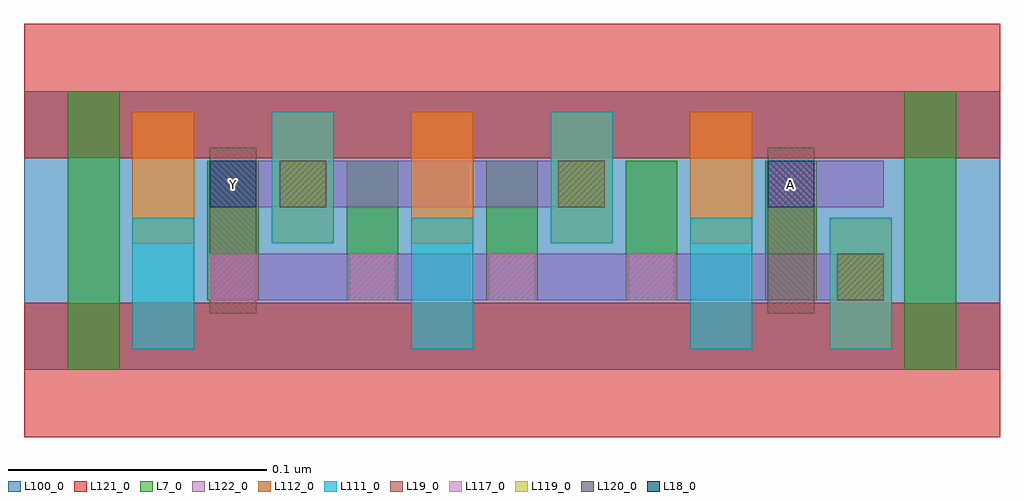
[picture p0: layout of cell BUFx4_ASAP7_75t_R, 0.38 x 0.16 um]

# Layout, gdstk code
import gdstk
lib = gdstk.Library(unit=1e-6, precision=2.5e-10)
def R(c, l, rs):  # rectangles x0, y0, x1, y1
    for r in rs: c.add(gdstk.rectangle(r[:2], r[2:], *l))
def A(c, l, x, y, w, h, nx, ny, dx, dy):  # array of equal rectangles
    R(c, l, [(x+i*dx, y+j*dy, x+i*dx+w, y+j*dy+h) for i in range(nx) for j in range(ny)])
L7_0 = (7, 0)
L18_0 = (18, 0)
L19_0 = (19, 0)
L100_0 = (100, 0)
L111_0 = (111, 0)
L112_0 = (112, 0)
L117_0 = (117, 0)
L119_0 = (119, 0)
L120_0 = (120, 0)
L121_0 = (121, 0)
L122_0 = (122, 0)

bufx4_asap7_75t_r = lib.new_cell('BUFx4_ASAP7_75t_R')
A(bufx4_asap7_75t_r, L7_0, 0.071, 0.027, 0.02, 0.054, 5, 1, 0.054, 0)
R(bufx4_asap7_75t_r, L7_0, [(0.017,0,0.037,0.108), (0.341,0,0.361,0.108)])
R(bufx4_asap7_75t_r, L18_0, [(0.072,0.063,0.09,0.081), (0.288,0.063,0.306,0.081)])
R(bufx4_asap7_75t_r, L19_0, [(0.072,0.022,0.09,0.086), (0.288,0.022,0.306,0.086)])
R(bufx4_asap7_75t_r, L100_0, [(0,0,0.378,0.108)])
A(bufx4_asap7_75t_r, L111_0, 0.042, 0.008, 0.024, 0.051, 3, 1, 0.108, 0)
R(bufx4_asap7_75t_r, L111_0, [(0.312,0.008,0.336,0.059), (0.096,0.049,0.12,0.1), (0.204,0.049,0.228,0.1)])
A(bufx4_asap7_75t_r, L112_0, 0.042, 0.049, 0.024, 0.051, 5, 1, 0.054, 0)
R(bufx4_asap7_75t_r, L112_0, [(0.312,0.008,0.336,0.059)])
A(bufx4_asap7_75t_r, L117_0, 0.072, 0.027, 0.018, 0.018, 4, 1, 0.054, 0)
R(bufx4_asap7_75t_r, L117_0, [(0.288,0.063,0.306,0.081)])
R(bufx4_asap7_75t_r, L119_0, [(0.315,0.027,0.333,0.045), (0.099,0.063,0.117,0.081), (0.207,0.063,0.225,0.081)])
R(bufx4_asap7_75t_r, L120_0, [(0.315,0.027,0.333,0.045), (0.099,0.063,0.117,0.081), (0.207,0.063,0.225,0.081)])
R(bufx4_asap7_75t_r, L121_0, [(0,-0.026,0.378,0.026), (0,0.082,0.378,0.134)])
R(bufx4_asap7_75t_r, L122_0, [(0.072,0.027,0.333,0.045), (0.072,0.063,0.225,0.081), (0.288,0.063,0.333,0.081)])
bufx4_asap7_75t_r.add(gdstk.Label('Y', (0.081,0.072), layer=19, texttype=251))
bufx4_asap7_75t_r.add(gdstk.Label('A', (0.297,0.072), layer=19, texttype=251))

lib.write_gds('BUFx4_ASAP7_75t_R.gds')
